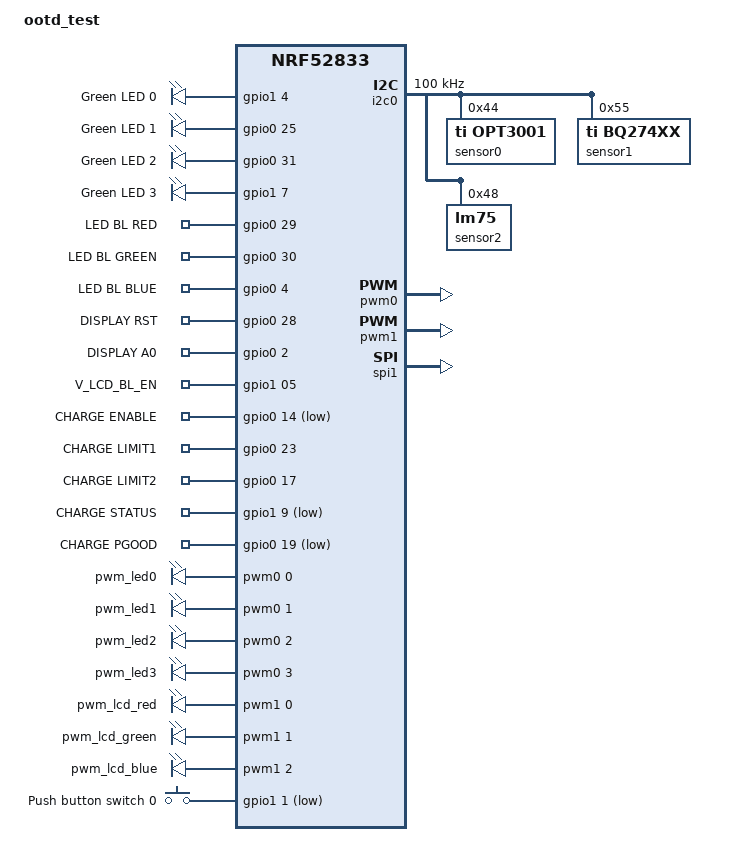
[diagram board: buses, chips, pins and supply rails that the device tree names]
// Copyright (c) 2023 Nordic Semiconductor ASA
// SPDX-License-Identifier: Apache-2.0

/dts-v1/;
#include <nordic/nrf52833_qiaa.dtsi>
#include "ootd_test-pinctrl.dtsi"

/ {
	model = "ootd_test";
	compatible = "ootd,ootd_test";

	chosen {
		zephyr,sram = &sram0;
		zephyr,flash = &flash0;
		zephyr,code-partition = &slot0_partition;
	};

	leds {
		compatible = "gpio-leds";
		led0: led_0 {
			gpios = <&gpio1 4 GPIO_ACTIVE_HIGH>;
			label = "Green LED 0";
		};
		led1: led_1 {
			gpios = <&gpio0 25 GPIO_ACTIVE_HIGH>;
			label = "Green LED 1";
		};
		led2: led_2 {
			gpios = <&gpio0 31 GPIO_ACTIVE_HIGH>;
			label = "Green LED 2";
		};
		led3: led_3 {
			gpios = <&gpio1 7 GPIO_ACTIVE_HIGH>;
			label = "Green LED 3";
		};
	};

	gpios {
		compatible = "gpio-keys";
		// backlight LED
		led_bl_red: led_bl_red {
			gpios = <&gpio0 29 GPIO_ACTIVE_HIGH>;		// GPIO23
			label = "LED BL RED";
		};
		led_bl_green: led_bl_green {
			gpios = <&gpio0 30 GPIO_ACTIVE_HIGH>;		// GPIO24
			label = "LED BL GREEN";
		};
		led_bl_blue: led_bl_blue {
			gpios = <&gpio0 4 GPIO_ACTIVE_HIGH>;		// GPIO25
			label = "LED BL BLUE";
		};

		// Display GPIOs
		lcd_rst: lcd_rst {
			gpios = <&gpio0 28 GPIO_ACTIVE_HIGH>;	// GPIO17
			label = "DISPLAY RST";
		};

		lcd_a0: lcd_a0 {
			gpios = <&gpio0 2 GPIO_ACTIVE_HIGH>;	// GPIO18
			label = "DISPLAY A0";
		};

		v_lcd_bl_en: v_lcd_bl_en {
			gpios = <&gpio1 05 GPIO_ACTIVE_HIGH>;	// GPIO22
			label = "V_LCD_BL_EN";
		};

		// charger status lines
		charge_en: charge_en {
            gpios = <&gpio0 14 GPIO_ACTIVE_LOW>;		// GPIO34
            label = "CHARGE ENABLE";
        };

		charge_limit_en1: charge_limit_en1 {
            gpios = <&gpio0 23 GPIO_ACTIVE_HIGH>;	// GPIO21
            label = "CHARGE LIMIT1";
        };

		charge_limit_en2: charge_limit_en2 {
            gpios = <&gpio0 17 GPIO_ACTIVE_HIGH>;	// GPIO5
            label = "CHARGE LIMIT2";
        };

		charge_status: charge_status {
            gpios = <&gpio1 9 (GPIO_PULL_UP | GPIO_ACTIVE_LOW)>;	// GPIO33
            label = "CHARGE STATUS";
        };

		charge_pg: charge_pg {
            gpios = <&gpio0 19 (GPIO_PULL_UP | GPIO_ACTIVE_LOW)>;	// GPIO40
            label = "CHARGE PGOOD";
        };
	};
	

	pwmleds {
		compatible = "pwm-leds";
		pwm_led0: pwm_led_0 {
			pwms = <&pwm0 0 PWM_MSEC(20) PWM_POLARITY_NORMAL>;
		};

		pwm_led1: pwm_led_1 {
			pwms = <&pwm0 1 PWM_MSEC(20) PWM_POLARITY_NORMAL>;
		};

		pwm_led2: pwm_led_2 {
			pwms = <&pwm0 2 PWM_MSEC(20) PWM_POLARITY_NORMAL>;
		};

		pwm_led3: pwm_led_3 {
			pwms = <&pwm0 3 PWM_MSEC(20) PWM_POLARITY_NORMAL>;
		};

		// LCD Backlight
		pwm_lcd_red: pwm_lcd_red {
			pwms = <&pwm1 0 PWM_MSEC(20) PWM_POLARITY_NORMAL>;
		};
		pwm_lcd_green: pwm_lcd_green {
			pwms = <&pwm1 1 PWM_MSEC(20) PWM_POLARITY_NORMAL>;
		};
		pwm_lcd_blue: pwm_lcd_blue{
			pwms = <&pwm1 2 PWM_MSEC(20) PWM_POLARITY_NORMAL>;
		};
	};

	buttons {
		compatible = "gpio-keys";
		button0: button_0 {
			gpios = <&gpio1 1 (GPIO_PULL_UP | GPIO_ACTIVE_LOW)>;
			label = "Push button switch 0";
		};
	};

	/* These aliases are provided for compatibility with samples */
	aliases {
		/* LEDs */
		led0 = &led0;
		led1 = &led1;
		led2 = &led2;
		led3 = &led3;

		/* PWM LEDs */
		pwm-led0 = &pwm_led0;
		pwm-led1 = &pwm_led1;
		pwm-led2 = &pwm_led2;
		pwm-led3 = &pwm_led3;
		pwm-lcd-red = &pwm_lcd_red;
		pwm-lcd-green = &pwm_lcd_green;
		pwm-lcd-blue = &pwm_lcd_blue;

		/* Button */
		sw0 = &button0;

		/* Sensors */
		als = &sensor0;			/* ALS - Ambient Light Sensor */
		gauge = &sensor1;
		temp = &sensor2;

		/* System */
		bootloader-led0 = &led0;
		mcuboot-button0 = &button0;
		mcuboot-led0 = &led0;
		watchdog0 = &wdt0;
	};
};

&gpio0 {
	status = "okay";
};

&gpio1 {
	status = "okay";
};

&i2c0 {
	compatible = "nordic,nrf-twim";
	status = "okay";
	pinctrl-0 = <&i2c0_default>;
	pinctrl-1 = <&i2c0_sleep>;
	pinctrl-names = "default", "sleep";
	clock-frequency = < 100000 >;

	sensor0: sensor@44 {
		compatible = "ti,opt3001";
		reg = <0x44>;
	};

	sensor1: sensor@55 {
		compatible = "ti,bq274xx";
		reg = <0x55>;
		design-voltage = <3700>;
		design-capacity = <3500>;
		taper-current = <45>;
		terminate-voltage = <3000>;
	};

	sensor2: sensor@48 {
		compatible = "lm75";
		reg = <0x48>;
	};
};

&pwm0 {
	status = "okay";
	pinctrl-0 = <&pwm0_default>;
	pinctrl-1 = <&pwm0_sleep>;
	pinctrl-names = "default", "sleep";
};

&pwm1 {
	status = "okay";
	pinctrl-0 = <&pwm1_default>;
	pinctrl-1 = <&pwm1_sleep>;
	pinctrl-names = "default", "sleep";
};

&spi1 {
	compatible = "nordic,nrf-spi";
	status = "okay";
	pinctrl-0 = <&spi1_default>;
	pinctrl-1 = <&spi1_sleep>;
	pinctrl-names = "default" , "sleep";
	cs-gpios = < &gpio0 3 GPIO_ACTIVE_LOW>;	// SPI CS GPIO16
};

&flash0 {

	partitions {
		compatible = "fixed-partitions";
		#address-cells = <1>;
		#size-cells = <1>;

		boot_partition: partition@0 {
			label = "mcuboot";
			reg = <0x00000000 0xC000>;
		};
		slot0_partition: partition@c000 {
			label = "image-0";
			reg = <0x0000C000 0x32000>;
		};
		slot1_partition: partition@3e000 {
			label = "image-1";
			reg = <0x0003E000 0x32000>;
		};
		scratch_partition: partition@70000 {
			label = "image-scratch";
			reg = <0x00070000 0xA000>;
		};
		storage_partition: partition@7a000 {
			label = "storage";
			reg = <0x0007A000 0x00006000>;
		};
	};
};

